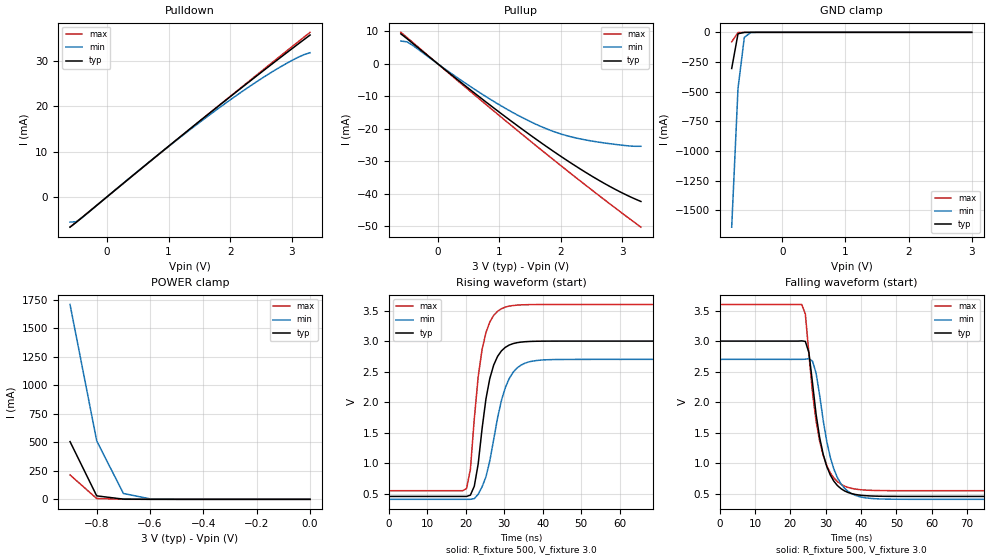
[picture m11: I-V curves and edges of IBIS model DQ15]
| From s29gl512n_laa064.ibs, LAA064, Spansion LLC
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[Model]   DQ15
Model_type I/O
Enable Active-High
Vinh=2.1
Vinl=0.9
Vmeas=1.5
Cref=30pF
C_comp   8.5pF   8.5pF   8.5pF
[Model Spec]
[Temperature Range] 27   100   0
[Voltage Range]   3.0   2.7   3.6
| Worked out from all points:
|   slope of the pulldown table from 0 to 0.45 V, typ, clamps not added: 88.9 ohm
|   slope of the pullup table from 0 to 0.45 V, typ, clamps not added: 66 ohm
|   GND clamp passes 1 mA (typ) near -0.61 V on its own axis
|   POWER clamp passes 1 mA (typ) near -0.65 V on its own axis
|   falling waveform, R_fixture 500, V_fixture 3.0: 20-80 % time 4.31ns typ, 4.65ns min, 4.21ns max; typ from 3 V to 0.453 V
|   rising waveform, R_fixture 500, V_fixture 3.0: 20-80 % time 3.56ns typ, 4.72ns min, 3.18ns max; typ from 0.453 V to 3 V
[Pullup]
-600mV    9.229mA    7.001mA    9.694mA
-500mV    7.742mA    6.776mA    8.096mA
-400mV    6.187mA    5.589mA    6.475mA
300mV     -4.568mA   -4.03mA    -4.826mA
900mV     -13.44mA   -11.47mA   -14.36mA
1.3V      -19.13mA   -15.82mA   -20.61mA
1.7V      -24.58mA   -19.48mA   -26.78mA
2V        -28.48mA   -21.59mA   -31.33mA
2.4V      -33.37mA   -23.41mA   -37.31mA
2.9V      -38.8mA    -24.83mA   -44.6mA
3.3V      -42.35mA   -25.37mA   -50.25mA
[Pulldown]
-600mV    -6.694mA   -5.569mA   -6.651mA
-500mV    -5.637mA   -5.509mA   -5.59mA
-400mV    -4.513mA   -4.564mA   -4.477mA
1V        11.19mA    11.14mA    11.16mA
1.6V      17.79mA    17.45mA    17.8mA
2.1V      23.2mA     22.39mA    23.31mA
2.5V      27.47mA    26.07mA    27.69mA
2.8V      30.63mA    28.6mA     30.97mA
3.1V      33.75mA    30.83mA    34.23mA
3.3V      35.8mA     31.89mA    36.39mA
[GND Clamp]
-800mV    -305.1mA   -1.643A    -79.81mA
-700mV    -12.18mA   -471.3mA   -1.913mA
-600mV    -354uA     -42.57mA   -124.2uA
-500mV    -14.11uA   -2.243mA   -14.32uA
-400mV    -1.52uA    -108.4uA   -1.965uA
3V        431.1pA    1.118uA    380.9pA
[POWER Clamp]
-900mV    506.8mA    1.711A     214.3mA
-800mV    30.36mA    513.6mA    7.074mA
-700mV    1.805mA    51.55mA    593.1uA
-600mV    113uA      4.189mA    35.99uA
-500mV    3.013uA    441uA      2.058uA
-400mV    86.15nA    24.58uA    103.4nA
-300mV    3.266nA    1.118uA    4.514nA
-200mV    550.3pA    52.89nA    639.7pA
-100mV    447.2pA    5.146nA    502.1pA
0V        431.1pA    2.973nA    480.9pA
[Falling Waveform]
R_fixture=500
V_fixture=3.0
V_fixture_min=2.7
V_fixture_max=3.6
0s        3V         2.7V       3.6V
23.23ns   3.003V     2.7V       3.599V
24.24ns   2.995V     2.703V     3.444V
25.25ns   2.812V     2.712V     2.796V
27.27ns   1.805V     2.478V     1.693V
28.28ns   1.421V     2.117V     1.362V
31.31ns   803.6mV    1.093V     839.7mV
34.34ns   579.2mV    658.8mV    651.9mV
43.43ns   458.7mV    417.2mV    551.3mV
100ns     452.8mV    405.1mV    546.3mV
[Rising Waveform]
R_fixture=500
V_fixture=3.0
V_fixture_min=2.7
V_fixture_max=3.6
0s        452.8mV    405.1mV    546.3mV
20.2ns    452.8mV    405.1mV    581.6mV
21.21ns   474.3mV    405.1mV    898.5mV
22.22ns   619.4mV    417.5mV    1.723V
24.24ns   1.561V     609.1mV    2.859V
26.26ns   2.388V     1.038V     3.314V
29.29ns   2.84V      2.028V     3.531V
32.32ns   2.959V     2.489V     3.583V
37.37ns   2.996V     2.672V     3.598V
100ns     3V         2.7V       3.6V
[Ramp]
R_load=500
dV/dt_r   1.591E+0/3.583E-9   1.409E+0/4.779E-9   1.921E+0/3.159E-9
dV/dt_f   1.528E+0/4.257E-9   1.377E+0/4.566E-9   1.832E+0/4.158E-9
|[End   DQ15
